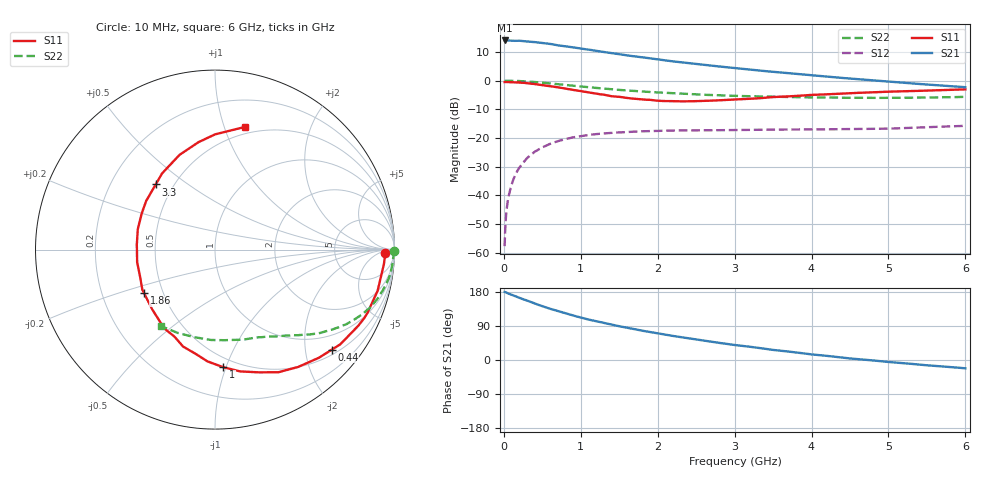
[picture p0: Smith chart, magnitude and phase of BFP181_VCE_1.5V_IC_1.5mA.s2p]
! Infineon Technologies  Discrete & RF Semiconductors
! BFP181
! VCE = 1.5 V,  IC =  1.5 mA
! Common Emitter S-Parameters:  Jan 2016
# GHz  S  MA  R  50
!  f  S11  S21  S12  S22
! GHz  MAG  ANG  MAG  ANG  MAG  ANG  MAG  ANG
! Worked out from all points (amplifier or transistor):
!   210 points, 10 MHz to 6 GHz, reference 50 ohm
!   highest |S21| = 14.0 dB at 10 MHz (marker M1)
!   |S21| within 3 dB of that: start of sweep to 1.049 GHz
!   unconditionally stable (mu >= 1): 2.6 GHz to end of sweep
!   at 185 MHz: K = 0.09, MSG = 22.5 dB, |S12| = -31.1 dB
!   at 1.52 GHz: K = 0.63, MSG = 13.6 dB, |S12| = -18.0 dB
!   at 6 GHz: K = 1.22, MAG = 3.9 dB, |S12| = -15.8 dB
!   S11 on the Smith chart (normalised r, x): 10 MHz: 32, -11; 440 MHz: 0.61, -2.58; 1 GHz: 0.42, -0.98; 1.86 GHz: 0.39, -0.24; 3.3 GHz: 0.40, +0.38; 6 GHz: 0.44, +1.18
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0.01  0.9453 -1.1  5.017 179.5  0.0013 99.5  0.9975 -0.4
0.02  0.9481 -1.9  4.985 179.1  0.003 86.2  0.992 -0.8
0.04  0.9462 -3.6  5.001 177.1  0.0062 90.3  0.9937 -1.7
0.065  0.9421 -6.0  4.996 175.0  0.01 87.7  0.9939 -2.9
0.115  0.9354 -11.0  4.956 171.1  0.0175 82.5  0.9913 -5.0
0.24  0.9193 -22.7  4.906 161.2  0.0354 75.7  0.9767 -10.5
0.44  0.8569 -40.6  4.626 146.2  0.0618 64.5  0.9368 -18.2
0.6  0.8011 -54.7  4.383 135.3  0.0789 57.0  0.8951 -23.8
0.8  0.7264 -70.3  3.987 123.1  0.0955 48.3  0.8426 -29.5
1  0.6566 -86.0  3.623 112.1  0.108 41.2  0.7906 -34.3
1.02  0.6492 -87.5  3.593 111.1  0.109 40.6  0.7858 -34.7
1.2  0.5905 -100.6  3.308 102.2  0.117 34.9  0.7468 -38.5
1.4  0.5348 -115.0  3.012 93.4  0.123 30.2  0.7072 -42.0
1.62  0.4955 -130.6  2.733 84.4  0.128 26.0  0.6727 -45.0
1.86  0.4639 -148.3  2.49 75.2  0.1315 22.1  0.6384 -48.5
2.02  0.4446 -159.4  2.329 69.8  0.1332 19.9  0.6206 -50.5
2.42  0.4366 175.2  2.011 56.7  0.1359 15.3  0.583 -56.2
3.1  0.4743 140.4  1.607 37.3  0.1378 10.5  0.5382 -66.0
3.3  0.4909 132.3  1.509 32.3  0.139 9.6  0.5312 -69.2
4.1  0.5701 108.0  1.206 12.9  0.1414 6.8  0.5075 -84.0
5.1  0.6467 88.4  0.938 -6.8  0.1472 5.8  0.5012 -105.4
6  0.7045 76.1  0.768 -21.9  0.1629 5.0  0.5218 -125.3
